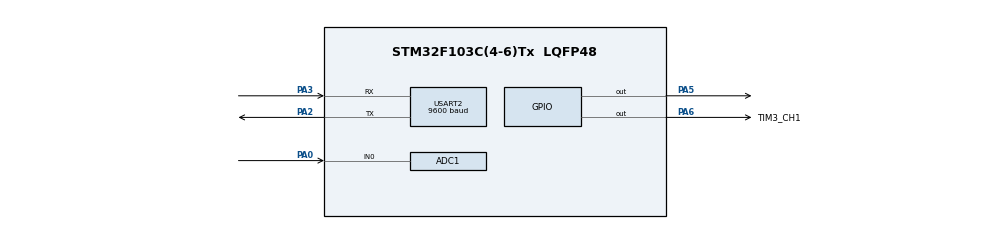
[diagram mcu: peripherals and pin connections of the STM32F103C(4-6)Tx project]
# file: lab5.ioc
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ADC1.Channel-0\#ChannelRegularConversion=ADC_CHANNEL_0
ADC1.ContinuousConvMode=ENABLE
ADC1.NbrOfConversionFlag=1
ADC1.Rank-0\#ChannelRegularConversion=1
ADC1.SamplingTime-0\#ChannelRegularConversion=ADC_SAMPLETIME_1CYCLE_5
ADC1.master=1
Mcu.Family=STM32F1
Mcu.Name=STM32F103C(4-6)Tx
Mcu.Package=LQFP48
NVIC.PriorityGroup=NVIC_PRIORITYGROUP_4
NVIC.TIM2_IRQn=true\:0\:0\:false\:false\:true\:true\:true
NVIC.USART2_IRQn=true\:0\:0\:false\:false\:true\:true\:true
PA0-WKUP.Signal=ADCx_IN0
PA2.Mode=Asynchronous
PA2.Signal=USART2_TX
PA3.Mode=Asynchronous
PA3.Signal=USART2_RX
PA5.Signal=GPIO_Output
PA6.GPIO_Label=TIM3_CH1
PA6.Signal=GPIO_Output
ProjectManager.HeapSize=0x200
ProjectManager.StackSize=0x400
ProjectManager.TargetToolchain=STM32CubeIDE
RCC.APB1Freq_Value=8000000
RCC.APB2Freq_Value=8000000
SH.ADCx_IN0.0=ADC1_IN0,IN0
TIM2.Period=10
TIM2.Prescaler=7999
USART2.BaudRate=9600
USART2.VirtualMode=VM_ASYNC
VP_SYS_VS_ND.Mode=No_Debug
VP_TIM2_VS_ClockSourceINT.Mode=Internal
board=custom

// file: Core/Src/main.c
/* USER CODE BEGIN Header */
/**
  ******************************************************************************
  * @file           : main.c
  * @brief          : Main program body
  ******************************************************************************
  * @attention
  *
  * <h2><center>&copy; Copyright (c) 2021 STMicroelectronics.
  * All rights reserved.</center></h2>
  *
  * This software component is licensed by ST under BSD 3-Clause license,
  * the "License"; You may not use this file except in compliance with the
  * License. You may obtain a copy of the License at:
  *                        opensource.org/licenses/BSD-3-Clause
  *
  ******************************************************************************
  */
/* USER CODE END Header */
#include "main.h"

ADC_HandleTypeDef hadc1;
TIM_HandleTypeDef htim2;
UART_HandleTypeDef huart2;

void SystemClock_Config(void);
static void MX_GPIO_Init(void);
static void MX_ADC1_Init(void);
static void MX_USART2_UART_Init(void);
static void MX_TIM2_Init(void);

/* USER CODE BEGIN 0 */
#define MAX_BUFFER_SIZE 30
uint8_t temp = 0;
uint8_t buffer [ MAX_BUFFER_SIZE ];
uint8_t index_buffer = 0;
uint8_t buffer_flag = 0;

void HAL_UART_RxCpltCallback ( UART_HandleTypeDef * huart ){
	if(huart -> Instance == USART2 ){
		HAL_UART_Transmit (& huart2 , &temp , 1, 50) ;
		buffer [ index_buffer ++] = temp ;
		if( index_buffer == 30) index_buffer = 0;
		buffer_flag = 1;
		HAL_UART_Receive_IT (& huart2 , &temp , 1);
	}
}

int checking_rts = 0;
int checking_ok = 0;
int command_flag = 0; // 1 RTS 2 OK

int loop_flag = 0;

int timer0_counter = 0;
int timer0_flag = 0;
int TIMER_CYCLE = 10;

void setTimer0(int duration){
	timer0_counter = duration / TIMER_CYCLE;
	timer0_flag = 0;
}
void timer_run(){
	if(timer0_counter > 0){
		timer0_counter--;
	}
	if (timer0_counter == 0) timer0_flag = 1;
}

void command_parser_fsm (){
	HAL_GPIO_TogglePin ( GPIOA , 1 << 5 );char newline[2] = "\r\n";
	switch (buffer [ index_buffer - 1]){
	case 0x21: // !
		checking_rts = 1;
		checking_ok  = 1;
		break;
	case 0x52  : // R
		checking_rts = 1;
		checking_ok = 0;
		break;
	case 0x54: // T
		checking_rts = 1;
		checking_ok = 0;
		break;
	case 0x53: // S
		checking_rts = 1;
		checking_ok = 0;
		break;
	case 0x23: // #
		if (buffer[index_buffer-2] == 0x53 && buffer[index_buffer-3] == 0x54 && buffer[index_buffer-4] == 0x52 && buffer[index_buffer-5] == 0x21){
				command_flag = 1;
			}
		if (buffer[index_buffer-2] == 0x4b && buffer[index_buffer-3] == 0x4f && buffer[index_buffer-4] == 0x21){
				command_flag = 2;
				timer0_counter = -1;
		}
		break;
	case 0x4f: // O
		checking_rts = 0;
		checking_ok = 1;
		break;
	case 0x4b: // K
		checking_rts = 0;
		checking_ok = 1;
		break;
	default:
		HAL_GPIO_TogglePin ( GPIOA , 1 << 5 );
	}

}

void uart_communiation_fsm (){

}
/* USER CODE END 0 */

int main(void)
{

  /* MCU Configuration--------------------------------------------------------*/

  /* Reset of all peripherals, Initializes the Flash interface and the Systick. */
  HAL_Init();

  /* Configure the system clock */
  SystemClock_Config();

  /* Initialize all configured peripherals */
  MX_GPIO_Init();
  MX_ADC1_Init();
  MX_USART2_UART_Init();
  MX_TIM2_Init();
  /* USER CODE BEGIN 2 */
  HAL_UART_Receive_IT(& huart2 , &temp , 1);
  HAL_TIM_Base_Start_IT(&htim2 );

  HAL_ADC_Start(&hadc1);
  HAL_ADC_PollForConversion(&hadc1, HAL_MAX_DELAY);

  /* USER CODE END 2 */

  /* Infinite loop */
  /* USER CODE BEGIN WHILE */
  uint8_t  ADC_value = 0;
  int str;
  while (1)
  {
    /* USER CODE END WHILE */
	  if( buffer_flag == 1){
		  command_parser_fsm ();
		  buffer_flag = 0;
	  }
    /* USER CODE BEGIN 3 */
	  switch (command_flag){
	  	case 1:
	  		ADC_value = HAL_ADC_GetValue (&hadc1);
	  		HAL_UART_Transmit (& huart2 , ( void *) str , sprintf (str , "\r!ADC=%d\n#\r", ADC_value ), 1000) ;
	  		loop_flag = 1;
	  		setTimer0(3000);
	  		command_flag = 3; //
	  		break;
	  	case 2:
	  		command_flag = 3;
	  		loop_flag = 0;
	  		break;
	  	default:
	  		  if(timer0_flag == 1 && loop_flag ==1) {
	  			  ADC_value = HAL_ADC_GetValue (&hadc1);
	  			  ADC_value = HAL_ADC_GetValue (&hadc1);
	  			  HAL_UART_Transmit (& huart2 , ( void *) str , sprintf (str , "\r!ADC=%d\n#\r", ADC_value ), 1000) ;
	  			  setTimer0(3000);
	  		  }
	  	}
	  uart_communiation_fsm ();

  }
  /* USER CODE END 3 */
}

void SystemClock_Config(void)
{
  RCC_OscInitTypeDef RCC_OscInitStruct = {0};
  RCC_ClkInitTypeDef RCC_ClkInitStruct = {0};
  RCC_PeriphCLKInitTypeDef PeriphClkInit = {0};

  /** Initializes the RCC Oscillators according to the specified parameters
  * in the RCC_OscInitTypeDef structure.
  */
  RCC_OscInitStruct.OscillatorType = RCC_OSCILLATORTYPE_HSI;
  RCC_OscInitStruct.HSIState = RCC_HSI_ON;
  RCC_OscInitStruct.HSICalibrationValue = RCC_HSICALIBRATION_DEFAULT;
  RCC_OscInitStruct.PLL.PLLState = RCC_PLL_NONE;
  if (HAL_RCC_OscConfig(&RCC_OscInitStruct) != HAL_OK)
  {
    Error_Handler();
  }
  /** Initializes the CPU, AHB and APB buses clocks
  */
  RCC_ClkInitStruct.ClockType = RCC_CLOCKTYPE_HCLK|RCC_CLOCKTYPE_SYSCLK
                              |RCC_CLOCKTYPE_PCLK1|RCC_CLOCKTYPE_PCLK2;
  RCC_ClkInitStruct.SYSCLKSource = RCC_SYSCLKSOURCE_HSI;
  RCC_ClkInitStruct.AHBCLKDivider = RCC_SYSCLK_DIV1;
  RCC_ClkInitStruct.APB1CLKDivider = RCC_HCLK_DIV1;
  RCC_ClkInitStruct.APB2CLKDivider = RCC_HCLK_DIV1;

  if (HAL_RCC_ClockConfig(&RCC_ClkInitStruct, FLASH_LATENCY_0) != HAL_OK)
  {
    Error_Handler();
  }
  PeriphClkInit.PeriphClockSelection = RCC_PERIPHCLK_ADC;
  PeriphClkInit.AdcClockSelection = RCC_ADCPCLK2_DIV2;
  if (HAL_RCCEx_PeriphCLKConfig(&PeriphClkInit) != HAL_OK)
  {
    Error_Handler();
  }
}

static void MX_ADC1_Init(void)
{

  ADC_ChannelConfTypeDef sConfig = {0};

  /** Common config
  */
  hadc1.Instance = ADC1;
  hadc1.Init.ScanConvMode = ADC_SCAN_DISABLE;
  hadc1.Init.ContinuousConvMode = ENABLE;
  hadc1.Init.DiscontinuousConvMode = DISABLE;
  hadc1.Init.ExternalTrigConv = ADC_SOFTWARE_START;
  hadc1.Init.DataAlign = ADC_DATAALIGN_RIGHT;
  hadc1.Init.NbrOfConversion = 1;
  if (HAL_ADC_Init(&hadc1) != HAL_OK)
  {
    Error_Handler();
  }
  /** Configure Regular Channel
  */
  sConfig.Channel = ADC_CHANNEL_0;
  sConfig.Rank = ADC_REGULAR_RANK_1;
  sConfig.SamplingTime = ADC_SAMPLETIME_1CYCLE_5;
  if (HAL_ADC_ConfigChannel(&hadc1, &sConfig) != HAL_OK)
  {
    Error_Handler();
  }

}

static void MX_TIM2_Init(void)
{

  TIM_ClockConfigTypeDef sClockSourceConfig = {0};
  TIM_MasterConfigTypeDef sMasterConfig = {0};

  htim2.Instance = TIM2;
  htim2.Init.Prescaler = 7999;
  htim2.Init.CounterMode = TIM_COUNTERMODE_UP;
  htim2.Init.Period = 10;
  htim2.Init.ClockDivision = TIM_CLOCKDIVISION_DIV1;
  htim2.Init.AutoReloadPreload = TIM_AUTORELOAD_PRELOAD_DISABLE;
  if (HAL_TIM_Base_Init(&htim2) != HAL_OK)
  {
    Error_Handler();
  }
  sClockSourceConfig.ClockSource = TIM_CLOCKSOURCE_INTERNAL;
  if (HAL_TIM_ConfigClockSource(&htim2, &sClockSourceConfig) != HAL_OK)
  {
    Error_Handler();
  }
  sMasterConfig.MasterOutputTrigger = TIM_TRGO_RESET;
  sMasterConfig.MasterSlaveMode = TIM_MASTERSLAVEMODE_DISABLE;
  if (HAL_TIMEx_MasterConfigSynchronization(&htim2, &sMasterConfig) != HAL_OK)
  {
    Error_Handler();
  }

}

static void MX_USART2_UART_Init(void)
{

  huart2.Instance = USART2;
  huart2.Init.BaudRate = 9600;
  huart2.Init.WordLength = UART_WORDLENGTH_8B;
  huart2.Init.StopBits = UART_STOPBITS_1;
  huart2.Init.Parity = UART_PARITY_NONE;
  huart2.Init.Mode = UART_MODE_TX_RX;
  huart2.Init.HwFlowCtl = UART_HWCONTROL_NONE;
  huart2.Init.OverSampling = UART_OVERSAMPLING_16;
  if (HAL_UART_Init(&huart2) != HAL_OK)
  {
    Error_Handler();
  }

}

static void MX_GPIO_Init(void)
{
  GPIO_InitTypeDef GPIO_InitStruct = {0};

  /* GPIO Ports Clock Enable */
  __HAL_RCC_GPIOA_CLK_ENABLE();

  /*Configure GPIO pin Output Level */
  HAL_GPIO_WritePin(GPIOA, GPIO_PIN_5|TIM3_CH1_Pin, GPIO_PIN_RESET);

  /*Configure GPIO pins : PA5 TIM3_CH1_Pin */
  GPIO_InitStruct.Pin = GPIO_PIN_5|TIM3_CH1_Pin;
  GPIO_InitStruct.Mode = GPIO_MODE_OUTPUT_PP;
  GPIO_InitStruct.Pull = GPIO_NOPULL;
  GPIO_InitStruct.Speed = GPIO_SPEED_FREQ_LOW;
  HAL_GPIO_Init(GPIOA, &GPIO_InitStruct);

}

/* USER CODE BEGIN 4 */
void HAL_TIM_PeriodElapsedCallback ( TIM_HandleTypeDef * htim ){
	if(htim->Instance == TIM2){
		timer_run();
	}
}
/* USER CODE END 4 */

void Error_Handler(void)
{
  __disable_irq();
  while (1)
  {
  }
}

/************************ (C) COPYRIGHT STMicroelectronics *****END OF FILE****/
